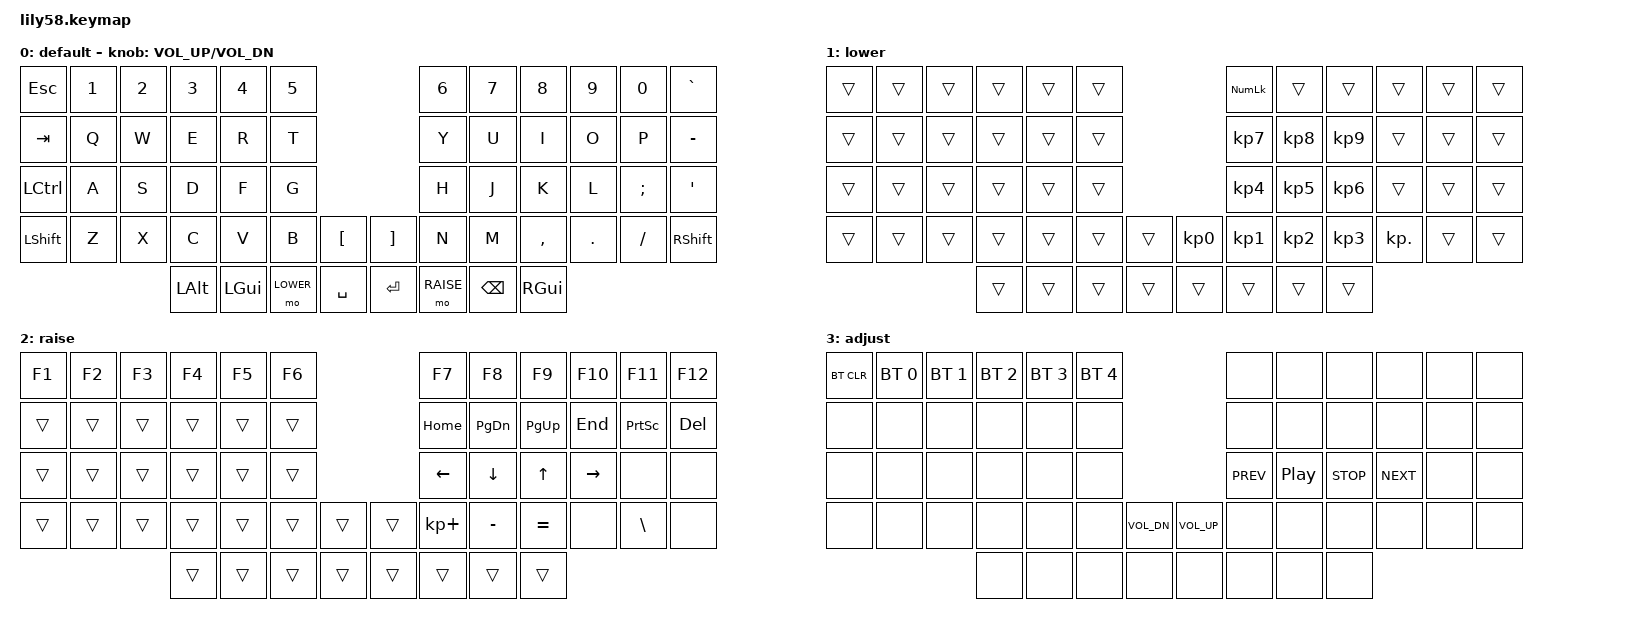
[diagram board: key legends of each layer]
/*
 * Copyright (c) 2020 The ZMK Contributors
 *
 * SPDX-License-Identifier: MIT
 */

#include <behaviors.dtsi>
#include <dt-bindings/zmk/keys.h>
#include <dt-bindings/zmk/bt.h>
#include <dt-bindings/zmk/ext_power.h>

#define BASE 0
#define LOWER 1
#define RAISE 2
#define ADJUST 3

/ {
    conditional_layers {
        compatible = "zmk,conditional-layers";

        adjust_layer {
            if-layers = <LOWER RAISE>;
            then-layer = <ADJUST>;
        };
    };

    keymap {
        compatible = "zmk,keymap";

        default_layer {
            label = "default";
// ---------------------------------------------------------------------------------------------------------------
// |  ESC  |  1  |  2  |  3   |  4   |  5   |                      |  6   |  7    |  8    |  9   |   0   |   `   |
// |  TAB  |  Q  |  W  |  E   |  R   |  T   |                      |  Y   |  U    |  I    |  O   |   P   |   -   |
// |  CTRL |  A  |  S  |  D   |  F   |  G   |                      |  H   |  J    |  K    |  L   |   ;   |   '   |
// | SHIFT |  Z  |  X  |  C   |  V   |  B   |    [    |  |    ]    |  N   |  M    |  ,    |  .   |   /   | SHIFT |
//                     | ALT  | GUI  | LOWER|  SPACE  |  |  ENTER  | RAISE| BSPC  | GUI   |
            bindings = <
&kp ESC   &kp N1 &kp N2 &kp N3   &kp N4   &kp N5                        &kp N6    &kp N7   &kp N8    &kp N9  &kp N0   &kp GRAVE
&kp TAB   &kp Q  &kp W  &kp E    &kp R    &kp T                         &kp Y     &kp U    &kp I     &kp O   &kp P    &kp MINUS
&kp LCTRL &kp A  &kp S  &kp D    &kp F    &kp G                         &kp H     &kp J    &kp K     &kp L   &kp SEMI &kp SQT
&kp LSHFT &kp Z  &kp X  &kp C    &kp V    &kp B     &kp LBKT   &kp RBKT &kp N     &kp M    &kp COMMA &kp DOT &kp FSLH &kp RSHFT
                        &kp LALT &kp LGUI &mo LOWER &kp SPACE  &kp RET  &mo RAISE &kp BSPC &kp RGUI
            >;

            sensor-bindings = <&inc_dec_kp C_VOL_UP C_VOL_DN>;
        };

        lower_layer {
            label = "lower";
// ------------------------------------------------------------------------------------------------------------
// |     |     |     |     |     |     |              | KP_NLCK |     |     |        |     |     |
// |     |     |     |     |     |     |              |    7    |  8  |  9  |        |     |     |
// |     |     |     |     |     |     |              |    4    |  5  |  6  |        |     |     |
// |     |     |     |     |     |     |     |  |  0  |    1    |  2  |  3  | KP_DOT |     |     |
//                   |     |     |     |     |  |     |         |     |     |
            bindings = <
&trans &trans &trans &trans &trans &trans                    &kp KP_NLCK &trans    &trans    &trans     &trans &trans
&trans &trans &trans &trans &trans &trans                    &kp KP_N7   &kp KP_N8 &kp KP_N9 &trans     &trans &trans
&trans &trans &trans &trans &trans &trans                    &kp KP_N4   &kp KP_N5 &kp KP_N6 &trans     &trans &trans
&trans &trans &trans &trans &trans &trans &trans   &kp KP_N0 &kp KP_N1   &kp KP_N2 &kp KP_N3 &kp KP_DOT &trans &trans
                     &trans &trans &trans &trans   &trans    &trans      &trans    &trans
            >;
        };

        raise_layer {
            label = "raise";
// ------------------------------------------------------------------------------------------------------------
// |  F1  |  F2  |  F3  |  F4  |  F5  |  F6  |              |  F7  |  F8  |  F9  |  F10  |  F11  |  F12  |
// |      |      |      |      |      |      |              | Home | PgDn | PgUp |  End  | PSCRN |  Del  |
// |      |      |      |      |      |      |              |  <-  |  v   |  ^   |  ->   |       |       |
// |      |      |      |      |      |      |     |  |     |  +   |  -   |  =   |   [   |   ]   |   \   |
//               |      |      |      |      |     |  |     |      |      |
            bindings = <
&kp F1 &kp F2 &kp F3 &kp F4  &kp F5  &kp F6                 &kp F7      &kp F8    &kp F9    &kp F10   &kp F11   &kp F12
&trans &trans &trans &trans  &trans  &trans                 &kp HOME    &kp PG_DN &kp PG_UP &kp END   &kp PSCRN &kp DEL
&trans &trans &trans &trans  &trans  &trans                 &kp LEFT    &kp DOWN  &kp UP    &kp RIGHT &none     &none
&trans &trans &trans &trans  &trans  &trans &trans   &trans &kp KP_PLUS &kp MINUS &kp EQUAL &none     &kp BSLH  &none
                     &trans  &trans  &trans &trans   &trans &trans      &trans    &trans
            >;
        };

        adjust_layer {
            label = "adjust";
// ----------------------------------------------------------------------------------------------------------------------------
// | BTCLR  |  BT1  |  BT2  |  BT3  |  BT4  |  BT5  |                       |        |      |        |        |       |       |
// |        |       |       |       |       |       |                       |        |      |        |        |       |       |
// |        |       |       |       |       |       |                       | C_PREV | C_PP | C_STOP | C_NEXT |       |       |
// |        |       |       |       |       |       | C_VOL_DN | | C_VOL_UP |        |      |        |        |       |       |
//                  |       |       |       |       |          | |          |        |      |        |        |

            bindings = <
&bt BT_CLR &bt BT_SEL 0 &bt BT_SEL 1 &bt BT_SEL 2 &bt BT_SEL 3 &bt BT_SEL 4                              &none      &none    &none      &none      &none &none
&none      &none        &none        &none        &none        &none                                     &none      &none    &none      &none      &none &none
&none      &none        &none        &none        &none        &none                                     &kp C_PREV &kp C_PP &kp C_STOP &kp C_NEXT &none &none
&none      &none        &none        &none        &none        &none        &kp C_VOL_DN   &kp C_VOL_UP  &none      &none    &none      &none      &none &none
                                     &none        &none        &none        &none          &none         &none      &none    &none
            >;
        };
    };
};
